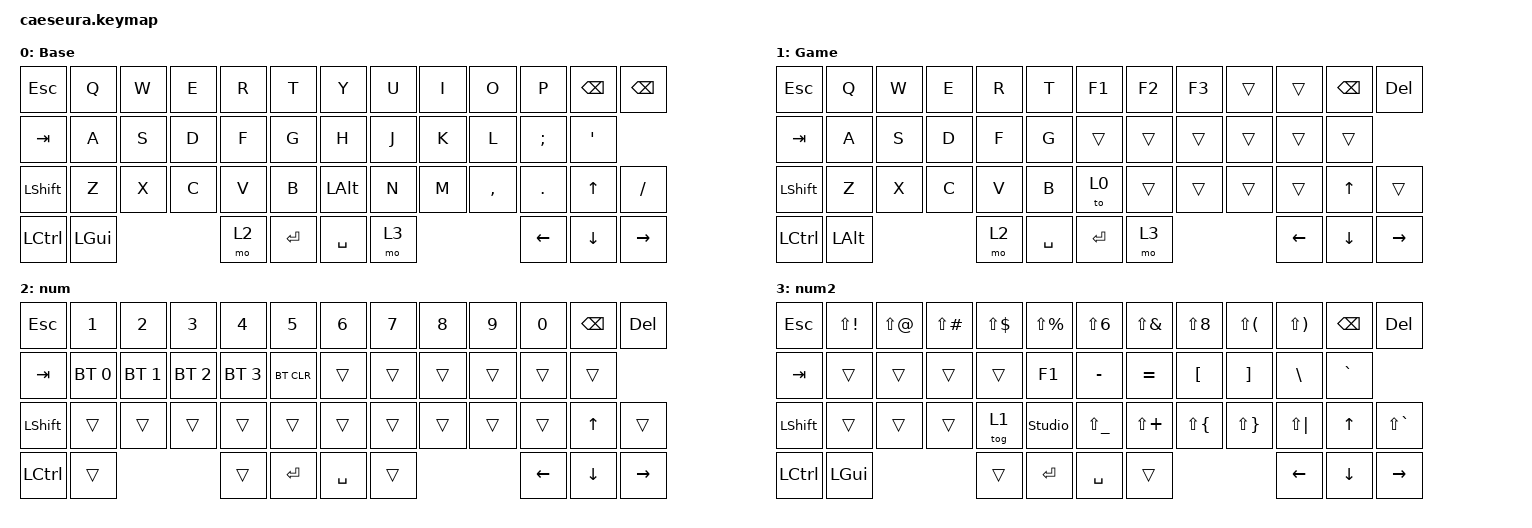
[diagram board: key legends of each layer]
#include <behaviors.dtsi>
#include <dt-bindings/zmk/bt.h>
#include <dt-bindings/zmk/keys.h>

/ {
    combos {
        compatible = "zmk,combos";

        parenthesis {
            bindings = <&kp LEFT_PARENTHESIS>;
            key-positions = <4 3>;
            layers = <0 2>;
        };

        parenthesis2 {
            bindings = <&kp RIGHT_PARENTHESIS>;
            key-positions = <7 8>;
            layers = <0 2>;
        };

        bracket {
            bindings = <&kp LEFT_BRACKET>;
            key-positions = <16 17>;
            layers = <0>;
        };

        bracket2 {
            bindings = <&kp RIGHT_BRACKET>;
            key-positions = <20 21>;
            layers = <0>;
        };

        curly-bracket {
            bindings = <&kp LEFT_BRACE>;
            key-positions = <28 29>;
            layers = <0>;
        };

        curly-bracket2 {
            bindings = <&kp RIGHT_BRACE>;
            key-positions = <32 33>;
            layers = <0>;
        };
    };

    keymap {
        compatible = "zmk,keymap";

        base {
            display-name = "Base";
            bindings = <
&kp ESC    &kp Q         &kp W  &kp E  &kp R  &kp T    &kp Y         &kp U  &kp I  &kp O      &kp P     &kp BSPC  &kp BACKSPACE
&kp TAB    &kp A         &kp S  &kp D  &kp F  &kp G    &kp H         &kp J  &kp K  &kp L      &kp SEMI  &kp SQT
&kp LSHFT  &kp Z         &kp X  &kp C  &kp V  &kp B    &kp LEFT_ALT  &kp N  &kp M  &kp COMMA  &kp DOT   &kp UP    &kp FSLH
&kp LCTRL  &kp LEFT_GUI                &mo 2  &kp RET  &kp SPACE     &mo 3                    &kp LEFT  &kp DOWN  &kp RIGHT
            >;
        };

        Game {
            bindings = <
&kp ESC    &kp Q         &kp W  &kp E  &kp R  &kp T      &kp F1     &kp F2  &kp F3  &trans  &trans    &kp BSPC  &kp DEL
&kp TAB    &kp A         &kp S  &kp D  &kp F  &kp G      &trans     &trans  &trans  &trans  &trans    &trans
&kp LSHFT  &kp Z         &kp X  &kp C  &kp V  &kp B      &to 0      &trans  &trans  &trans  &trans    &kp UP    &trans
&kp LCTRL  &kp LEFT_ALT                &mo 2  &kp SPACE  &kp ENTER  &mo 3                   &kp LEFT  &kp DOWN  &kp RIGHT
            >;
        };

        num {
            bindings = <
&kp ESC    &kp N1        &kp N2        &kp N3        &kp N4        &kp N5      &kp N6     &kp N7  &kp N8  &kp N9  &kp N0    &kp BSPC  &kp DEL
&kp TAB    &bt BT_SEL 0  &bt BT_SEL 1  &bt BT_SEL 2  &bt BT_SEL 3  &bt BT_CLR  &trans     &trans  &trans  &trans  &trans    &trans
&kp LSHFT  &trans        &trans        &trans        &trans        &trans      &trans     &trans  &trans  &trans  &trans    &kp UP    &trans
&kp LCTRL  &trans                                    &trans        &kp RET     &kp SPACE  &trans                  &kp LEFT  &kp DOWN  &kp RIGHT
            >;
        };

        num2 {
            bindings = <
&kp ESC    &kp LS(EXCL)  &kp LS(AT)  &kp LS(POUND)  &kp LS(DLLR)  &kp LS(PRCNT)   &kp LS(NUMBER_6)  &kp LS(AMPS)  &kp LS(N8)    &kp LS(LPAR)  &kp LS(RPAR)  &kp BSPC   &kp DEL
&kp TAB    &trans        &trans      &trans         &trans        &kp F1          &kp MINUS         &kp EQUAL     &kp LBKT      &kp RBKT      &kp BSLH      &kp GRAVE
&kp LSHFT  &trans        &trans      &trans         &tog 1        &studio_unlock  &kp LS(UNDER)     &kp LS(PLUS)  &kp LS(LBRC)  &kp LS(RBRC)  &kp LS(PIPE)  &kp UP     &kp LS(GRAVE)
&kp LCTRL  &kp LGUI                                 &trans        &kp RET         &kp SPACE         &trans                                    &kp LEFT      &kp DOWN   &kp RIGHT
            >;
        };
    };
};
